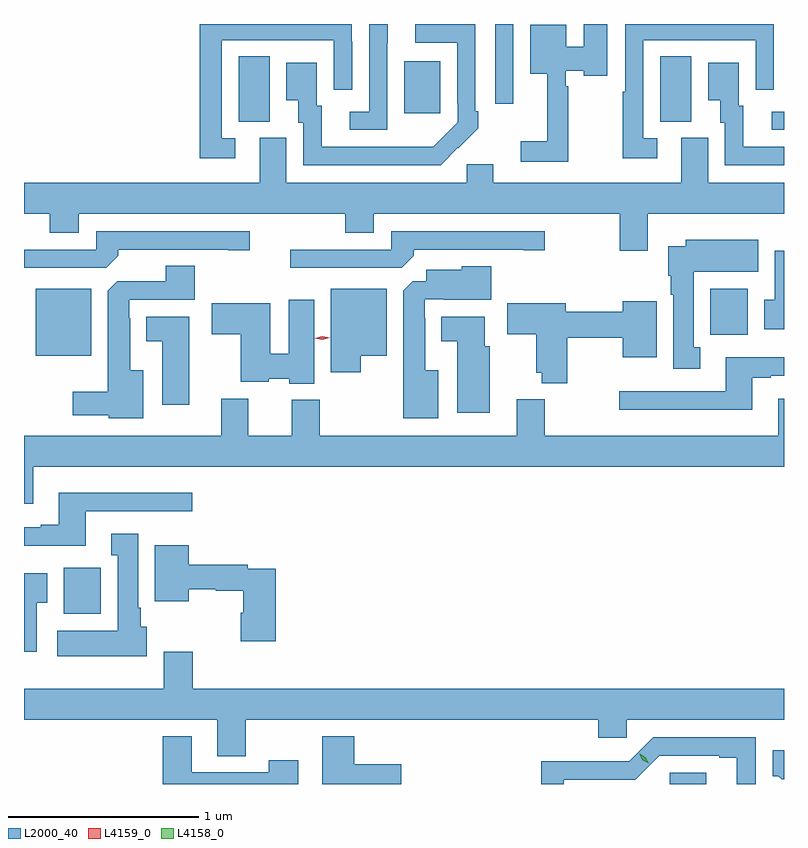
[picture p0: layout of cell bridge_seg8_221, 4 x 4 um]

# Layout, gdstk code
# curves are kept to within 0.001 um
import gdstk
lib = gdstk.Library(unit=1e-6, precision=1e-09)
def R(c, l, rs):  # rectangles x0, y0, x1, y1
    for r in rs: c.add(gdstk.rectangle(r[:2], r[2:], *l))
def P(c, l, *ps):  # polygons
    for p in ps: c.add(gdstk.Polygon(p, *l))
L2000_40 = (2000, 40)
L4158_0 = (4158, 0)
L4159_0 = (4159, 0)

bridge_seg8_221 = lib.new_cell('bridge_seg8_221')
R(bridge_seg8_221, L2000_40, [(138.507,1109.503,138.7,1109.562), (135.317,1110.398,135.514,1110.64), (135.17,1111.757,135.463,1112.11), (138.722,1111.868,138.919,1112.11), (139.044,1112.946,139.109,1113.042), (136.238,1112.989,136.402,1113.332), (138.458,1112.989,138.622,1113.332), (137.111,1113.033,137.299,1113.307), (137.589,1113.084,137.685,1113.503)])
P(bridge_seg8_221, L2000_40, [(138.442,1112.901),(138.369,1112.901),(138.369,1113.417),(138.96,1113.417),(138.96,1113.156),(139.056,1113.156),(139.056,1113.41),(139.055,1113.41),(139.055,1113.503),(138.273,1113.503),(138.273,1113.146),(138.261,1113.146),(138.261,1112.796),(138.442,1112.796)],
  [(137.022,1113.403),(137.023,1113.403),(137.023,1113.503),(136.926,1113.503),(136.926,1113.042),(136.824,1113.042),(136.824,1112.946),(137.022,1112.946)],
  [(137.974,1113.176),(137.961,1113.176),(137.961,1113.257),(138.056,1113.257),(138.056,1113.23),(138.178,1113.23),(138.178,1113.503),(138.056,1113.503),(138.056,1113.382),(137.962,1113.382),(137.962,1113.499),(137.774,1113.499),(137.774,1113.242),(137.864,1113.242),(137.864,1112.887),(137.724,1112.887),(137.724,1112.778),(137.974,1112.778)],
  [(136.222,1112.901),(136.149,1112.901),(136.149,1113.417),(136.74,1113.417),(136.74,1113.156),(136.836,1113.156),(136.836,1113.41),(136.835,1113.41),(136.835,1113.503),(136.033,1113.503),(136.033,1112.796),(136.222,1112.796)],
  [(137.393,1112.851),(137.394,1112.85),(137.499,1112.955),(137.499,1113.043),(137.484,1113.043),(137.484,1113.501),(137.169,1113.501),(137.169,1113.405),(137.388,1113.405),(137.388,1113.085),(137.391,1113.085),(137.391,1112.985),(137.263,1112.857),(136.675,1112.856),(136.675,1113.072),(136.651,1113.072),(136.651,1113.298),(136.49,1113.298),(136.49,1113.101),(136.553,1113.101),(136.553,1112.982),(136.578,1112.982),(136.578,1112.76),(137.302,1112.76)],
  [(139.109,1112.856),(138.895,1112.856),(138.895,1113.072),(138.871,1113.072),(138.871,1113.298),(138.71,1113.298),(138.71,1113.101),(138.773,1113.101),(138.773,1112.982),(138.798,1112.982),(138.798,1112.76),(139.109,1112.76)],
  [(138.391,1112.504),(139.109,1112.504),(139.109,1112.668),(138.709,1112.668),(138.709,1112.904),(138.569,1112.904),(138.569,1112.668),(137.578,1112.668),(137.578,1112.766),(137.439,1112.766),(137.439,1112.668),(136.489,1112.668),(136.489,1112.904),(136.349,1112.904),(136.349,1112.668),(135.109,1112.668),(135.109,1112.504),(135.245,1112.504),(135.245,1112.405),(135.397,1112.405),(135.397,1112.504),(136.799,1112.504),(136.799,1112.405),(136.951,1112.405),(136.951,1112.504),(138.244,1112.504),(138.244,1112.31),(138.391,1112.31)],
  [(137.159,1112.282),(137.159,1112.316),(137.738,1112.316),(137.738,1112.311),(137.851,1112.311),(137.851,1112.412),(137.043,1112.412),(137.043,1112.316),(136.509,1112.316),(136.509,1112.22),(137.097,1112.22)],
  [(135.605,1112.282),(135.605,1112.316),(136.184,1112.316),(136.184,1112.311),(136.297,1112.311),(136.297,1112.412),(135.489,1112.412),(135.489,1112.316),(135.109,1112.316),(135.109,1112.22),(135.543,1112.22)],
  [(138.667,1111.802),(138.634,1111.802),(138.634,1112.198),(138.973,1112.198),(138.973,1112.368),(138.593,1112.368),(138.593,1112.332),(138.5,1112.332),(138.5,1112.178),(138.512,1112.178),(138.512,1112.078),(138.527,1112.078),(138.527,1111.689),(138.667,1111.689)],
  [(139.109,1112.31),(139.061,1112.31),(139.061,1112.052),(139.004,1112.052),(139.004,1111.896),(139.109,1111.896)],
  [(135.736,1111.681),(135.667,1111.681),(135.667,1111.955),(135.663,1111.955),(135.663,1112.052),(136.007,1112.052),(136.007,1112.231),(135.854,1112.231),(135.854,1112.148),(135.6,1112.148),(135.551,1112.099),(135.551,1111.567),(135.366,1111.567),(135.366,1111.445),(135.555,1111.445),(135.555,1111.427),(135.736,1111.427)],
  [(137.29,1111.681),(137.221,1111.681),(137.221,1111.955),(137.217,1111.955),(137.217,1112.055),(137.317,1112.055),(137.317,1112.051),(137.569,1112.051),(137.569,1112.227),(137.412,1112.227),(137.412,1112.209),(137.225,1112.209),(137.225,1112.148),(137.154,1112.148),(137.105,1112.099),(137.105,1111.427),(137.29,1111.427)],
  [(136.882,1111.757),(137.017,1111.757),(137.017,1112.11),(136.724,1112.11),(136.724,1111.671),(136.882,1111.671)],
  [(136.636,1112.053),(136.502,1112.053),(136.502,1111.767),(136.405,1111.767),(136.405,1112.032),(136.098,1112.032),(136.098,1111.87),(136.25,1111.87),(136.25,1111.619),(136.398,1111.619),(136.398,1111.637),(136.506,1111.637),(136.506,1111.61),(136.636,1111.61)],
  [(137.967,1111.852),(138.26,1111.852),(138.26,1111.748),(138.439,1111.748),(138.439,1112.044),(138.26,1112.044),(138.26,1111.988),(137.959,1111.988),(137.959,1112.032),(137.652,1112.032),(137.652,1111.87),(137.804,1111.87),(137.804,1111.667),(137.834,1111.667),(137.834,1111.613),(137.967,1111.613)],
  [(137.56,1111.806),(137.533,1111.806),(137.533,1111.963),(137.306,1111.963),(137.306,1111.832),(137.39,1111.832),(137.39,1111.458),(137.56,1111.458)],
  [(135.979,1111.963),(135.752,1111.963),(135.752,1111.832),(135.836,1111.832),(135.836,1111.5),(135.979,1111.5)],
  [(138.943,1111.641),(139.039,1111.641),(139.039,1111.653),(139.109,1111.653),(139.109,1111.75),(138.803,1111.75),(138.803,1111.569),(138.243,1111.569),(138.243,1111.472),(138.943,1111.472)],
  [(135.157,1111.172),(139.109,1111.172),(139.109,1111.531),(139.079,1111.531),(139.079,1111.336),(137.85,1111.336),(137.85,1111.528),(137.702,1111.528),(137.702,1111.336),(136.665,1111.336),(136.665,1111.525),(136.517,1111.525),(136.517,1111.336),(136.288,1111.336),(136.288,1111.531),(136.148,1111.531),(136.148,1111.336),(135.109,1111.336),(135.109,1110.978),(135.157,1110.978)],
  [(135.433,1110.939),(135.994,1110.939),(135.994,1111.036),(135.293,1111.036),(135.293,1110.868),(135.197,1110.868),(135.197,1110.855),(135.109,1110.855),(135.109,1110.758),(135.433,1110.758)],
  [(135.754,1110.33),(135.724,1110.33),(135.724,1110.43),(135.709,1110.43),(135.709,1110.82),(135.569,1110.82),(135.569,1110.707),(135.602,1110.707),(135.602,1110.31),(135.285,1110.31),(135.285,1110.176),(135.754,1110.176)],
  [(136.433,1110.636),(136.286,1110.636),(136.286,1110.656),(135.976,1110.656),(135.976,1110.76),(135.797,1110.76),(135.797,1110.464),(135.976,1110.464),(135.976,1110.528),(136.119,1110.528),(136.119,1110.52),(136.262,1110.52),(136.262,1110.405),(136.25,1110.405),(136.25,1110.255),(136.433,1110.255)],
  [(135.175,1110.457),(135.232,1110.457),(135.232,1110.613),(135.109,1110.613),(135.109,1110.198),(135.175,1110.198)],
  [(135.998,1110.199),(135.845,1110.199),(135.845,1110.004),(135.109,1110.004),(135.109,1109.84),(136.127,1109.84),(136.127,1109.65),(136.275,1109.65),(136.275,1109.84),(138.131,1109.84),(138.131,1109.747),(138.282,1109.747),(138.282,1109.84),(139.109,1109.84),(139.109,1110.004),(135.998,1110.004)],
  [(136.552,1109.629),(136.396,1109.629),(136.396,1109.565),(135.991,1109.565),(135.991,1109.755),(135.839,1109.755),(135.839,1109.503),(136.552,1109.503)],
  [(137.095,1109.608),(136.846,1109.608),(136.846,1109.755),(136.679,1109.755),(136.679,1109.503),(137.095,1109.503)],
  [(137.95,1109.526),(138.327,1109.526),(138.453,1109.652),(138.767,1109.652),(138.767,1109.64),(138.861,1109.64),(138.861,1109.503),(138.96,1109.503),(138.96,1109.748),(138.42,1109.748),(138.294,1109.622),(138.072,1109.622),(138.072,1109.624),(137.832,1109.624),(137.832,1109.503),(137.95,1109.503)],
  [(139.109,1109.68),(139.049,1109.68),(139.049,1109.544),(139.08,1109.544),(139.096,1109.528),(139.109,1109.528)])
P(bridge_seg8_221, L4158_0, [(138.398,1109.611),(138.366,1109.629),(138.348,1109.662),(138.348,1109.662),(138.349,1109.662),(138.38,1109.643),(138.398,1109.611),(138.398,1109.611)])
P(bridge_seg8_221, L4159_0, [(136.679,1111.84),(136.639,1111.849),(136.639,1111.849),(136.639,1111.849),(136.678,1111.86),(136.718,1111.852),(136.718,1111.852),(136.718,1111.852)])

lib.write_gds('bridge_seg8_221.gds')
